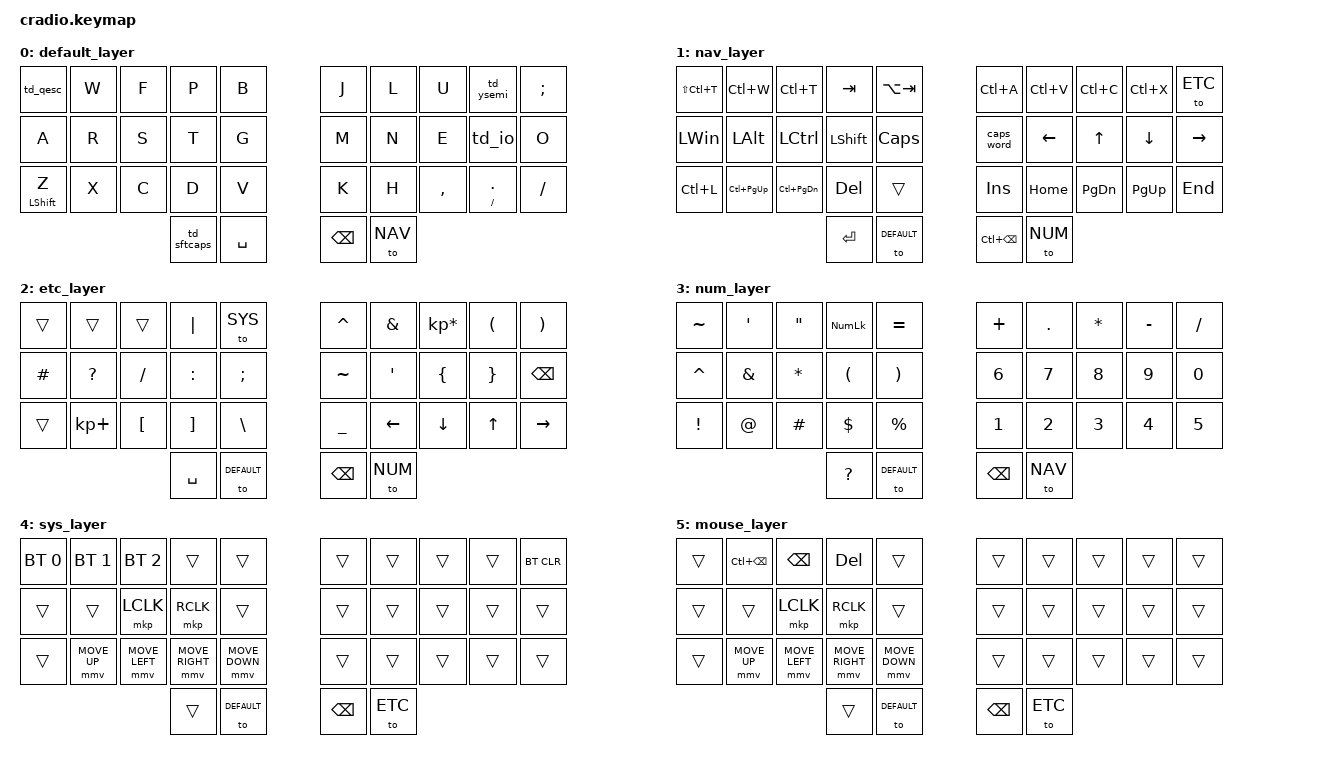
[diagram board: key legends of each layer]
/*
 * Copyright (c) 2020 The ZMK Contributors
 *
 * SPDX-License-Identifier: MIT
 */

#include <behaviors.dtsi>
#include <dt-bindings/zmk/keys.h>
#include <dt-bindings/zmk/bt.h>
#include <dt-bindings/zmk/mouse.h>

#define DEFAULT 0
#define NAV     1
#define ETC     2
#define NUM		3
#define SYS		4
#define MOUSE   5

&mt {
    flavor = "tap-preferred";
    tapping_term_ms = <200>;
};

/{
    combos {
        compatible = "zmk,combos";
        combo_esc {
            timeout-ms = <50>;
            key-positions = <0 1>;
            bindings = <&to MOUSE>;
        };
       
         combo_tab {
            timeout-ms = <50>;
            key-positions = <10 11>;
            bindings = <&kp TAB>;
        };
    };

	behaviors {
        td_qesc: tap_dance_q_esc {
            compatible = "zmk,behavior-tap-dance";
            label = "TAP_DANCE_Q_ESC";
            #binding-cells = <0>;
            tapping-term-ms = <200>;
            bindings = <&kp Q>, <&kp ESC>;
        };
	
		td_ysemi: tap_dance_y_semi {
            compatible = "zmk,behavior-tap-dance";
            label = "TAP_DANCE_Y_SEMI";
            #binding-cells = <0>;
            tapping-term-ms = <200>;
            bindings = <&kp Y>, <&kp SEMI>;
        };
	
		td_io: tap_dance_i_o {
            compatible = "zmk,behavior-tap-dance";
            label = "TAP_DANCE_I_O";
            #binding-cells = <0>;
            tapping-term-ms = <200>;
            bindings = <&kp I>, <&kp O>;
        };
	
		td_sftcaps: tap_dance_shift_capsword {
            compatible = "zmk,behavior-tap-dance";
            label = "TAP_DANCE_SHIFT_CAPSWORD";
            #binding-cells = <0>;
            tapping-term-ms = <200>;
            bindings = <&sk LSHIFT>, <&caps_word>;
        };
    };
	
	
    keymap {
        compatible = "zmk,keymap";
                
       	default_layer {
		bindings = <
		&td_qesc      &kp W      &kp F    &kp P    &kp B    			&kp J &kp L  &kp U    &td_ysemi   &kp SEMI
		&kp A         &kp R      &kp S    &kp T    &kp G 			&kp M &kp N  &kp E    &td_io   &kp O
		&mt LSHIFT Z  &kp X      &kp C    &kp D    &kp V			&kp K &kp H  &kp COMMA &mt SLASH DOT &kp SLASH
          				          &td_sftcaps &kp SPACE  	        &kp BSPC &to NAV 
		>;
		};

       	nav_layer {
		bindings = <
		&kp LS(LC(T))        &kp LC(W)     &kp LC(T)   &kp TAB     &kp LA(TAB)	        &kp LC(A)      &kp LC(V)    &kp LC(C)   &kp LC(X)   &to ETC 
		&kp LWIN      &kp LALT   &kp LCTRL &kp LSHIFT  &kp CAPS                 &caps_word     &kp LEFT     &kp UP      &kp DOWN    &kp RIGHT 
		&kp LC(L)        &kp LC(PG_UP) &kp LC(PG_DN)    &kp DEL     &trans   	        &kp INSERT     &kp HOME     &kp PG_DN   &kp PG_UP   &kp END 
					           &kp RET     &to DEFAULT	        &kp LC(BSPC)   &to NUM 
		>;
		};
		
		etc_layer {
		bindings = <
		&trans     &trans      &trans      &kp PIPE      &to SYS   	 	&kp CARET  &kp AMPS &kp KP_MULTIPLY &kp LPAR &kp RPAR 
		&kp HASH      &kp QMARK  &kp FSLH  &kp COLON  &kp SEMI 			&kp TILDE &kp APOS  &kp LBRC  &kp RBRC   &kp BSPC
		&trans    &kp KP_PLUS &kp LBKT &kp RBKT   &kp BSLH    	                &kp UNDER &kp LEFT &kp DOWN &kp UP  &kp RIGHT
					           &kp SPACE &to DEFAULT  		&kp BSPC  &to NUM
		>;
		};	
		
		num_layer {
		bindings = <
		&kp TILDE  &kp SQT    &kp DQT    &kp KP_NUM    &kp EQUAL	        &kp PLUS &kp DOT   &kp STAR   &kp MINUS  &kp FSLH
		&kp CARET &kp AMPS &kp STAR &kp LPAR &kp RPAR  				&kp N6    &kp N7     &kp N8     &kp N9    &kp N0 
		&kp EXCL  &kp AT &kp HASH &kp DOLLAR &kp PERCENT   			&kp N1 	  &kp N2     &kp N3     &kp N4    &kp N5   
					 &kp QMARK   &to DEFAULT  			&kp BSPC  &to NAV
		>;
		};	
        
		sys_layer {
		bindings = <
		&bt BT_SEL 0  &bt BT_SEL 1  &bt BT_SEL 2    &trans    &trans	&trans &trans   &trans   &trans  &bt BT_CLR
		&trans &trans &mkp LCLK &mkp RCLK &trans  				&trans &trans   &trans   &trans  &trans
	        &trans &mmv MOVE_UP &mmv MOVE_LEFT &mmv MOVE_RIGHT &mmv MOVE_DOWN      &trans &trans   &trans   &trans  &trans   
					 &trans   &to DEFAULT  			&kp BSPC &to ETC
		>;
		};		

		mouse_layer {
		bindings = <
		&trans  &kp LC(BSPC)  &kp BSPC  &kp DEL   &trans	&trans &trans   &trans   &trans  &trans
		&trans &trans &mkp LCLK &mkp RCLK &trans  				&trans &trans   &trans   &trans  &trans
	        &trans &mmv MOVE_UP &mmv MOVE_LEFT &mmv MOVE_RIGHT &mmv MOVE_DOWN      &trans &trans   &trans   &trans  &trans   
					 &trans   &to DEFAULT  			&kp BSPC &to ETC
		>;
		};
	};
};
